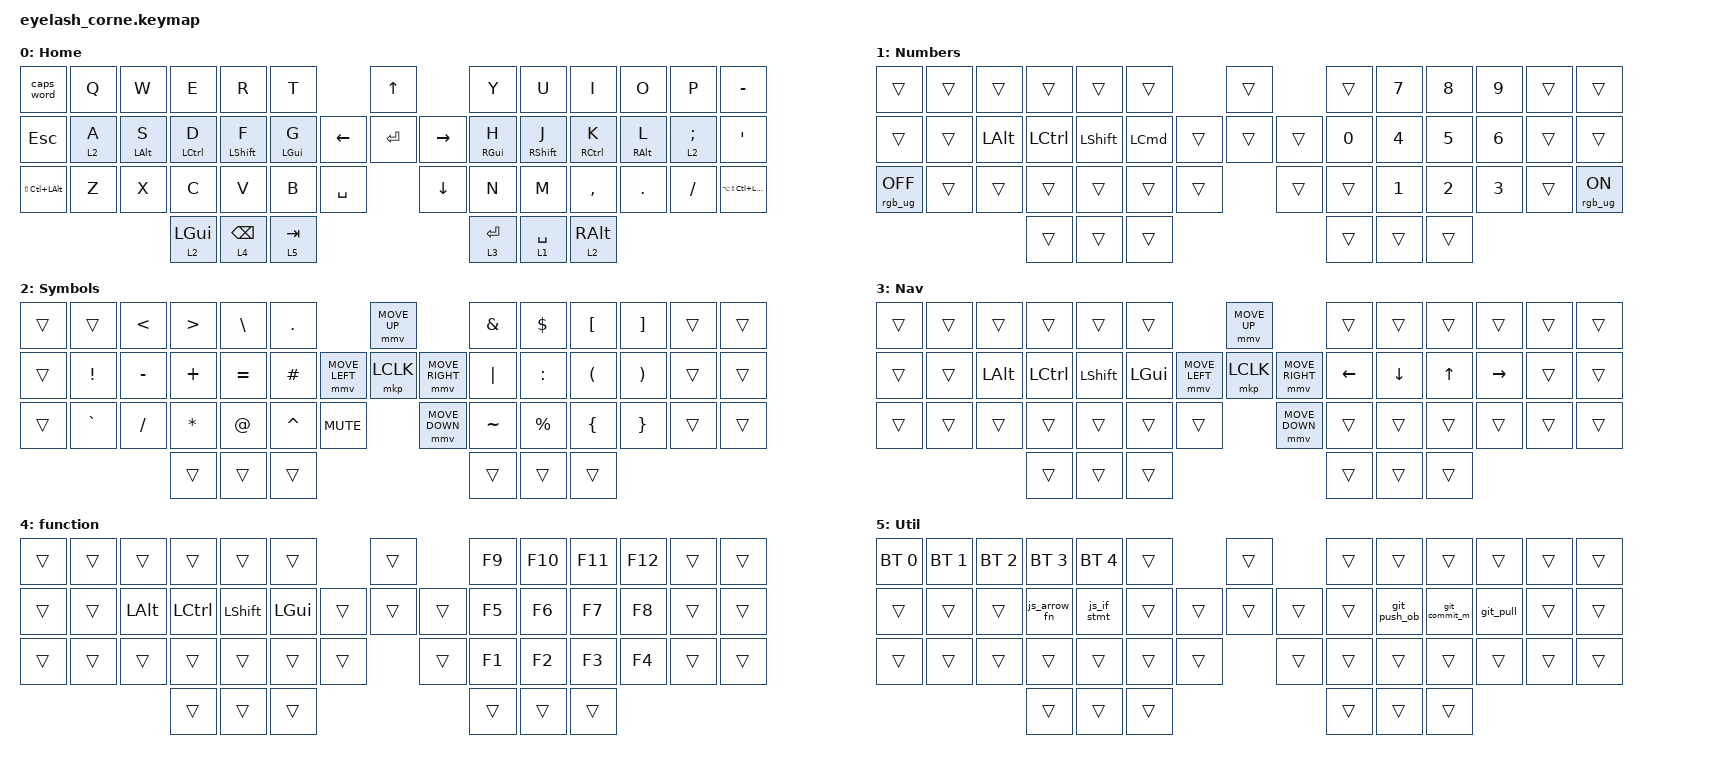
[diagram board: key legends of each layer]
#define ZMK_POINTING_DEFAULT_MOVE_VAL 1200  // 600
#define ZMK_POINTING_DEFAULT_SCRL_VAL 25   // 10

#include <input/processors.dtsi>
#include <zephyr/dt-bindings/input/input-event-codes.h>
#include <behaviors.dtsi>
#include <dt-bindings/zmk/bt.h>
#include <dt-bindings/zmk/keys.h>
#include <dt-bindings/zmk/pointing.h>
#include <dt-bindings/zmk/rgb.h>

&mmv_input_listener { input-processors = <&zip_xy_scaler 2 1>; };

&msc_input_listener { input-processors = <&zip_scroll_scaler 2 1>; };

&msc {
    acceleration-exponent = <1>;      // 0
    time-to-max-speed-ms = <100>;     // 300
    delay-ms = <0>;                   // 0
};

&mmv {
    time-to-max-speed-ms = <500>;
    acceleration-exponent = <1>;
    trigger-period-ms = <16>;
};

&soft_off { hold-time-ms = <2000>; };

&mt {
    tapping-term-ms = <200>;
    quick-tap-ms = <0>;
    flavor = "balanced";
};

/ {
    behaviors {
        td0: td0 {
            compatible = "zmk,behavior-tap-dance";
            display-name = "Shift/Caps Lock Tap Dance";
            #binding-cells = <0>;
            bindings = <&kp LEFT_SHIFT>, <&kp CAPS>;
        };
    };

    combos {
        compatible = "zmk,combos";

        softoff {
            bindings = <&soft_off>;
            key-positions = <1 15 29>;
        };

        bt-clear {
            bindings = <&bt BT_CLR_ALL>;
            key-positions = <3 4 5 7 8 9>;
        };
    };

    macros {
        git_push_ob: git_push_ob {
            compatible = "zmk,behavior-macro";
            #binding-cells = <0>;
            bindings = <&kp G &kp I &kp T &kp SPACE &kp P &kp U &kp S &kp H &kp SPACE &kp MINUS &kp U &kp SPACE &kp O &kp R &kp I &kp G &kp I &kp N &kp SPACE &kp DLLR &kp LPAR &kp B &kp R &kp A &kp N &kp C &kp H &kp RPAR>;
            label = "GIT_PUSH_OB";
        };

        git_commit_m: git_commit_m {
            compatible = "zmk,behavior-macro";
            #binding-cells = <0>;
            bindings = <&kp G &kp I &kp T &kp SPACE &kp C &kp O &kp M &kp M &kp I &kp T &kp SPACE &kp MINUS &kp M &kp SPACE &kp DQT &kp DQT &kp LEFT>;
            label = "GIT_COMMIT_M";
        };

        git_pull: git_pull {
            compatible = "zmk,behavior-macro";
            #binding-cells = <0>;
            bindings = <&kp G &kp I &kp T &kp SPACE &kp P &kp U &kp L &kp L>;
            label = "GIT_PULL";
        };

        js_if_stmt: js_if_stmt {
            compatible = "zmk,behavior-macro";
            #binding-cells = <0>;
            bindings = <&kp I &kp F &kp SPACE &kp LPAR &kp RPAR &kp SPACE &kp LBRC &kp RBRC &kp LEFT_ARROW &kp LEFT &kp LEFT_ARROW &kp LEFT>;
            label = "JS_IF_STMT";
        };

        js_arrow_fn: js_arrow_fn {
            compatible = "zmk,behavior-macro";
            #binding-cells = <0>;
            bindings = <&kp LPAR &kp RPAR &kp SPACE &kp EQUAL &kp GT &kp SPACE &kp LBRC &kp RET &kp RET &kp RBRC &kp UP_ARROW &kp TAB>;
            label = "JS_ARROW_FN";
        };
    };

    keymap {
        compatible = "zmk,keymap";

        default_layer {
            display-name = "Home";
            bindings = <
&caps_word            &kp Q    &kp W       &kp E        &kp R            &kp T                              &kp UP                &kp Y        &kp U        &kp I        &kp O       &kp P            &kp MINUS
&kp ESC               &lt 2 A  &mt LALT S  &mt LCTRL D  &mt LSHFT F      &mt LGUI G               &kp LEFT  &kp ENTER  &kp RIGHT  &mt RGUI H   &mt RSHFT J  &mt RCTRL K  &mt RALT L  &lt 2 SEMICOLON  &kp SQT
&kp LS(LC(LEFT_ALT))  &kp Z    &kp X       &kp C        &kp V            &kp B       &kp SPACE              &kp DOWN              &kp N        &kp M        &kp COMMA    &kp DOT     &kp FSLH         &kp LA(LS(LC(LEFT_GUI)))
                                           &lt 2 LGUI   &lt 4 BACKSPACE  &lt 5 TAB                                                &lt 3 ENTER  &lt 1 SPACE  &lt 2 RALT
            >;
        };

        numbers {
            display-name = "Numbers";
            bindings = <
&trans           &trans  &trans        &trans            &trans          &trans                              &trans          &trans  &kp N7  &kp N8  &kp N9  &trans  &trans
&trans           &trans  &kp LEFT_ALT  &kp LEFT_CONTROL  &kp LEFT_SHIFT  &kp LEFT_COMMAND            &trans  &trans  &trans  &kp N0  &kp N4  &kp N5  &kp N6  &trans  &trans
&rgb_ug RGB_OFF  &trans  &trans        &trans            &trans          &trans            &trans            &trans          &trans  &kp N1  &kp N2  &kp N3  &trans  &rgb_ug RGB_ON
                                       &trans            &trans          &trans                                              &trans  &trans  &trans
            >;
        };

        symbols {
            display-name = "Symbols";
            bindings = <
&trans  &trans     &kp LESS_THAN  &kp GREATER_THAN  &kp BSLH   &kp DOT                                  &mmv MOVE_UP                     &kp AMPS   &kp DLLR   &kp LBKT  &kp RBKT  &trans  &trans
&trans  &kp EXCL   &kp MINUS      &kp PLUS          &kp EQUAL  &kp HASH                 &mmv MOVE_LEFT  &mkp LCLK       &mmv MOVE_RIGHT  &kp PIPE   &kp COLON  &kp LPAR  &kp RPAR  &trans  &trans
&trans  &kp GRAVE  &kp FSLH       &kp ASTRK         &kp AT     &kp CARET  &kp C_MUTE                    &mmv MOVE_DOWN                   &kp TILDE  &kp PRCNT  &kp LBRC  &kp RBRC  &trans  &trans
                                  &trans            &trans     &trans                                                                    &trans     &trans     &trans
            >;
        };

        nav {
            display-name = "Nav";
            bindings = <
&trans  &trans  &trans    &trans     &trans     &trans                              &mmv MOVE_UP                     &trans    &trans    &trans  &trans     &trans  &trans
&trans  &trans  &kp LALT  &kp LCTRL  &kp LSHFT  &kp LGUI            &mmv MOVE_LEFT  &mkp LCLK       &mmv MOVE_RIGHT  &kp LEFT  &kp DOWN  &kp UP  &kp RIGHT  &trans  &trans
&trans  &trans  &trans    &trans     &trans     &trans    &trans                    &mmv MOVE_DOWN                   &trans    &trans    &trans  &trans     &trans  &trans
                          &trans     &trans     &trans                                                               &trans    &trans    &trans
            >;
        };

        function {
            bindings = <
&trans  &trans  &trans        &trans            &trans          &trans                          &trans          &kp F9  &kp F10  &kp F11  &kp F12  &trans  &trans
&trans  &trans  &kp LEFT_ALT  &kp LEFT_CONTROL  &kp LEFT_SHIFT  &kp LEFT_GUI            &trans  &trans  &trans  &kp F5  &kp F6   &kp F7   &kp F8   &trans  &trans
&trans  &trans  &trans        &trans            &trans          &trans        &trans            &trans          &kp F1  &kp F2   &kp F3   &kp F4   &trans  &trans
                              &trans            &trans          &trans                                          &trans  &trans   &trans
            >;
        };

        Util {
            bindings = <
&bt BT_SEL 0  &bt BT_SEL 1  &bt BT_SEL 2  &bt BT_SEL 3  &bt BT_SEL 4  &trans                    &trans          &trans  &trans        &trans         &trans     &trans  &trans
&trans        &trans        &trans        &js_arrow_fn  &js_if_stmt   &trans            &trans  &trans  &trans  &trans  &git_push_ob  &git_commit_m  &git_pull  &trans  &trans
&trans        &trans        &trans        &trans        &trans        &trans  &trans            &trans          &trans  &trans        &trans         &trans     &trans  &trans
                                          &trans        &trans        &trans                                    &trans  &trans        &trans
            >;
        };
    };
};
